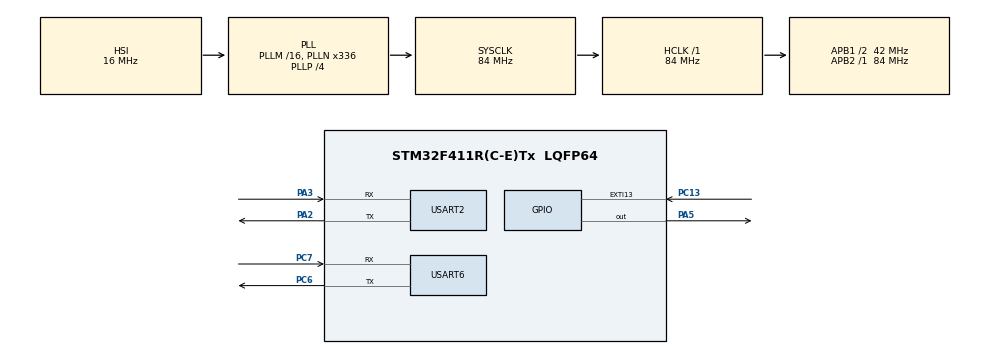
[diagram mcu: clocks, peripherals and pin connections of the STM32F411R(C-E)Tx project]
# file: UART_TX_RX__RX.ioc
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Mcu.Family=STM32F4
Mcu.Name=STM32F411R(C-E)Tx
Mcu.Package=LQFP64
NVIC.PriorityGroup=NVIC_PRIORITYGROUP_0
NVIC.USART2_IRQn=true\:0\:0\:false\:false\:true\:true\:true\:true
NVIC.USART6_IRQn=true\:0\:0\:false\:false\:true\:true\:true\:true
PA2.Mode=Asynchronous
PA2.Signal=USART2_TX
PA3.Mode=Asynchronous
PA3.Signal=USART2_RX
PA5.Signal=GPIO_Output
PC13-ANTI_TAMP.Signal=GPXTI13
PC14-OSC32_IN.Mode=LSE-External-Oscillator
PC14-OSC32_IN.Signal=RCC_OSC32_IN
PC15-OSC32_OUT.Mode=LSE-External-Oscillator
PC15-OSC32_OUT.Signal=RCC_OSC32_OUT
PC6.Mode=Asynchronous
PC6.Signal=USART6_TX
PC7.Mode=Asynchronous
PC7.Signal=USART6_RX
ProjectManager.HeapSize=0x200
ProjectManager.StackSize=0x400
ProjectManager.TargetToolchain=STM32CubeIDE
RCC.48MHZClocksFreq_Value=84000000
RCC.AHBFreq_Value=84000000
RCC.APB1CLKDivider=RCC_HCLK_DIV2
RCC.APB1Freq_Value=42000000
RCC.APB1TimFreq_Value=84000000
RCC.APB2Freq_Value=84000000
RCC.APB2TimFreq_Value=84000000
RCC.CortexFreq_Value=84000000
RCC.FLatency-AdvancedSettings=FLASH_LATENCY_2
RCC.HCLKFreq_Value=84000000
RCC.HSE_VALUE=8000000
RCC.HSI_VALUE=16000000
RCC.PLLN=336
RCC.PLLP=RCC_PLLP_DIV4
RCC.SYSCLKFreq_VALUE=84000000
RCC.SYSCLKSource=RCC_SYSCLKSOURCE_PLLCLK
RCC.VCOOutputFreq_Value=336000000
USART2.VirtualMode=VM_ASYNC
USART6.VirtualMode=VM_ASYNC
board=NUCLEO-F411RE

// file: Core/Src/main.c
/* USER CODE BEGIN Header */
/**
 ******************************************************************************
 * @file           : main.c
 * @brief          : Main program body
 ******************************************************************************
 * @attention
 *
 * Copyright (c) 2023 STMicroelectronics.
 * All rights reserved.
 *
 * Published By : Sandesh Kale
 * Github       : github/JAGAHPEE
 *
 * This software is licensed under terms that can be found in the LICENSE file
 * in the root directory of this software component.
 * If no LICENSE file comes with this software, it is provided AS-IS.
 *
 ******************************************************************************
 */
/* USER CODE END Header */
#include "main.h"

/* USER CODE BEGIN Includes */
#include "stdlib.h"
/* USER CODE END Includes */

UART_HandleTypeDef huart2;
UART_HandleTypeDef huart6;

/* USER CODE BEGIN PV */

uint8_t inside[] = "Inside Callback\n\r";
uint8_t outside[] = "Outside Callback\n\r";
uint8_t data_rev[] = "\r\nReceived Data: ";
uint8_t buffer[20];
/* USER CODE END PV */

void SystemClock_Config(void);
static void MX_GPIO_Init(void);
static void MX_USART2_UART_Init(void);
static void MX_USART6_UART_Init(void);

/* USER CODE BEGIN 0 */
uint8_t uart_transmit(uint8_t str[],uint8_t);
void HAL_UART_TxCpltCallback(UART_HandleTypeDef *huart)
{
	//	HAL_UART_Transmit(&huart2, inside, sizeof(inside), 100);
	HAL_GPIO_TogglePin(GPIOA, GPIO_PIN_5);
	//	HAL_UART_Transmit(&huart2, outside, sizeof(outside), 100);
}
/* USER CODE END 0 */

int main(void)
{

	/* MCU Configuration--------------------------------------------------------*/

	/* Reset of all peripherals, Initializes the Flash interface and the Systick. */
	HAL_Init();

	/* Configure the system clock */
	SystemClock_Config();

	/* Initialize all configured peripherals */
	MX_GPIO_Init();
	MX_USART2_UART_Init();
	MX_USART6_UART_Init();

	/* Infinite loop */
	while (1)
	{

		/* USER CODE BEGIN 3 */
		uint8_t check = uart_transmit(buffer, sizeof(buffer));
		if(check!=0)
		{
			uint8_t i=0;
			while(buffer[i]!='\0')
			{
				i++;
			}
			HAL_UART_Transmit(&huart2, data_rev, sizeof(data_rev),20);
			HAL_UART_Transmit(&huart2, buffer, i,20);
		}
		HAL_GPIO_TogglePin(GPIOA, GPIO_PIN_5);
		HAL_Delay(100);

	}
	/* USER CODE END 3 */
}

void SystemClock_Config(void)
{
	RCC_OscInitTypeDef RCC_OscInitStruct = {0};
	RCC_ClkInitTypeDef RCC_ClkInitStruct = {0};

	/** Configure the main internal regulator output voltage
	 */
	__HAL_RCC_PWR_CLK_ENABLE();
	__HAL_PWR_VOLTAGESCALING_CONFIG(PWR_REGULATOR_VOLTAGE_SCALE1);

	/** Initializes the RCC Oscillators according to the specified parameters
	 * in the RCC_OscInitTypeDef structure.
	 */
	RCC_OscInitStruct.OscillatorType = RCC_OSCILLATORTYPE_HSI;
	RCC_OscInitStruct.HSIState = RCC_HSI_ON;
	RCC_OscInitStruct.HSICalibrationValue = RCC_HSICALIBRATION_DEFAULT;
	RCC_OscInitStruct.PLL.PLLState = RCC_PLL_ON;
	RCC_OscInitStruct.PLL.PLLSource = RCC_PLLSOURCE_HSI;
	RCC_OscInitStruct.PLL.PLLM = 16;
	RCC_OscInitStruct.PLL.PLLN = 336;
	RCC_OscInitStruct.PLL.PLLP = RCC_PLLP_DIV4;
	RCC_OscInitStruct.PLL.PLLQ = 4;
	if (HAL_RCC_OscConfig(&RCC_OscInitStruct) != HAL_OK)
	{
		Error_Handler();
	}

	/** Initializes the CPU, AHB and APB buses clocks
	 */
	RCC_ClkInitStruct.ClockType = RCC_CLOCKTYPE_HCLK|RCC_CLOCKTYPE_SYSCLK
			|RCC_CLOCKTYPE_PCLK1|RCC_CLOCKTYPE_PCLK2;
	RCC_ClkInitStruct.SYSCLKSource = RCC_SYSCLKSOURCE_PLLCLK;
	RCC_ClkInitStruct.AHBCLKDivider = RCC_SYSCLK_DIV1;
	RCC_ClkInitStruct.APB1CLKDivider = RCC_HCLK_DIV2;
	RCC_ClkInitStruct.APB2CLKDivider = RCC_HCLK_DIV1;

	if (HAL_RCC_ClockConfig(&RCC_ClkInitStruct, FLASH_LATENCY_2) != HAL_OK)
	{
		Error_Handler();
	}
}

static void MX_USART2_UART_Init(void)
{

	huart2.Instance = USART2;
	huart2.Init.BaudRate = 115200;
	huart2.Init.WordLength = UART_WORDLENGTH_8B;
	huart2.Init.StopBits = UART_STOPBITS_1;
	huart2.Init.Parity = UART_PARITY_NONE;
	huart2.Init.Mode = UART_MODE_TX_RX;
	huart2.Init.HwFlowCtl = UART_HWCONTROL_NONE;
	huart2.Init.OverSampling = UART_OVERSAMPLING_16;
	if (HAL_UART_Init(&huart2) != HAL_OK)
	{
		Error_Handler();
	}

}

static void MX_USART6_UART_Init(void)
{

	huart6.Instance = USART6;
	huart6.Init.BaudRate = 115200;
	huart6.Init.WordLength = UART_WORDLENGTH_8B;
	huart6.Init.StopBits = UART_STOPBITS_1;
	huart6.Init.Parity = UART_PARITY_NONE;
	huart6.Init.Mode = UART_MODE_TX_RX;
	huart6.Init.HwFlowCtl = UART_HWCONTROL_NONE;
	huart6.Init.OverSampling = UART_OVERSAMPLING_16;
	if (HAL_UART_Init(&huart6) != HAL_OK)
	{
		Error_Handler();
	}

}

static void MX_GPIO_Init(void)
{
	GPIO_InitTypeDef GPIO_InitStruct = {0};

	/* GPIO Ports Clock Enable */
	__HAL_RCC_GPIOC_CLK_ENABLE();
	__HAL_RCC_GPIOA_CLK_ENABLE();

	/*Configure GPIO pin Output Level */
	HAL_GPIO_WritePin(GPIOA, GPIO_PIN_5, GPIO_PIN_RESET);

	/*Configure GPIO pin : PC13 */
	GPIO_InitStruct.Pin = GPIO_PIN_13;
	GPIO_InitStruct.Mode = GPIO_MODE_IT_RISING;
	GPIO_InitStruct.Pull = GPIO_NOPULL;
	HAL_GPIO_Init(GPIOC, &GPIO_InitStruct);

	/*Configure GPIO pin : PA5 */
	GPIO_InitStruct.Pin = GPIO_PIN_5;
	GPIO_InitStruct.Mode = GPIO_MODE_OUTPUT_PP;
	GPIO_InitStruct.Pull = GPIO_NOPULL;
	GPIO_InitStruct.Speed = GPIO_SPEED_FREQ_LOW;
	HAL_GPIO_Init(GPIOA, &GPIO_InitStruct);

}

/* USER CODE BEGIN 4 */
//string size must be defined
uint8_t uart_transmit(uint8_t str[],uint8_t s)
{
	HAL_UART_Transmit(&huart6, (uint8_t*)"\r\nReady to Receive: ", 19, 100);
	uint8_t check[1];
	HAL_UART_Receive(&huart6, check, 1, 10000);
	uint8_t i=0;
	if(check[0]=='0')
	{	uint8_t buff[1];
	while(buff[0]!='1' && i<=s)
	{
		HAL_UART_Receive(&huart6, buff, 1,3000);
		str[i] = buff[0];
		i++;
	}
	if(buff[0]=='1')
	{
		str[i-1] ='\0';
	}
	else
	{
		str[i] = '\0';
	}
	return 1;
	}
	HAL_UART_Transmit(&huart2, (uint8_t*)"\r\nNo Data Received:- ",19, 100);
	return 0;

}
/* USER CODE END 4 */

void Error_Handler(void)
{
	__disable_irq();
	while (1)
	{
	}
}
